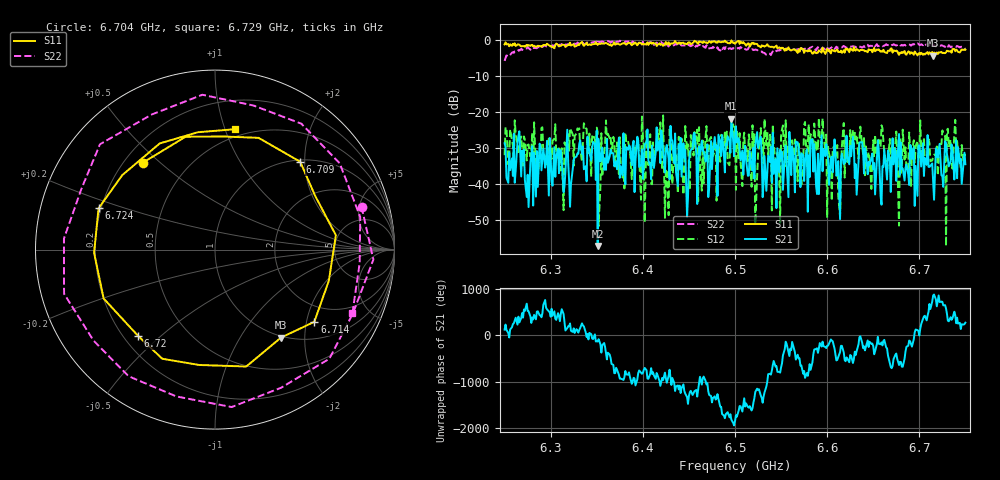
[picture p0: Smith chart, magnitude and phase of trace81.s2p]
# Hz S RI R 50
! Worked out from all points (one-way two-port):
!   401 points, 6.25 GHz to 6.75 GHz, reference 50 ohm
!   highest |S21| = -21.85 dB at 6.496 GHz (marker M1); lowest = -57.2 dB at 6.351 GHz (marker M2)
!   lowest |S11| = -4.3 dB at 6.715 GHz (marker M3), VSWR 4.17, Z = 48.7 - j76.6 ohm
!   |S11| at or under -10 dB: nowhere
!   |S22| runs from -5.7 to -0.2 dB; largest |S21 - S12| = 0.12
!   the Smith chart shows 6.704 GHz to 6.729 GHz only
!   S11 on the Smith chart (normalised r, x): 6.704 GHz: 0.27, +0.44; 6.709 GHz: 1.04, +1.90; 6.714 GHz: 1.47, -2.23; 6.72 GHz: 0.26, -0.42; 6.724 GHz: 0.19, +0.17; 6.729 GHz: 0.43, +1.08
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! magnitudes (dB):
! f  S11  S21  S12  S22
! 6.25 GHz  -1.2  -28.6  -32.0  -5.7
! 6.275 GHz  -1.6  -37.4  -29.1  -1.9
! 6.334 GHz  -0.5  -31.6  -33.8  -0.6
! 6.351 GHz  -1.3  -57.2  -25.5  -1.0
! 6.418 GHz  -0.9  -27.9  -30.3  -0.9
! 6.426 GHz  -1.2  -29.1  -35.8  -1.0
! 6.496 GHz  -0.1  -21.9  -24.3  -2.5
! 6.5 GHz  -1.0  -28.0  -24.0  -2.2
! 6.535 GHz  -1.1  -37.1  -25.2  -4.0
! 6.546 GHz  -2.2  -30.1  -31.2  -2.8
! 6.552 GHz  -2.1  -41.6  -23.7  -2.9
! 6.584 GHz  -3.8  -27.5  -27.5  -1.8
! 6.602 GHz  -2.7  -40.2  -31.5  -2.5
! 6.668 GHz  -3.0  -33.1  -27.4  -1.4
! 6.704 GHz  -4.0  -28.6  -32.8  -1.4
! 6.709 GHz  -3.3  -26.4  -32.8  -1.4
! 6.714 GHz  -3.3  -34.2  -33.5  -1.5
! 6.715 GHz  -4.3  -39.1  -32.5  -1.1
! 6.72 GHz  -3.8  -32.6  -37.5  -1.6
! 6.724 GHz  -3.2  -37.5  -28.9  -1.4
! 6.729 GHz  -3.3  -28.6  -57.3  -1.5
! 6.75 GHz  -2.6  -34.5  -32.6  -2.4
